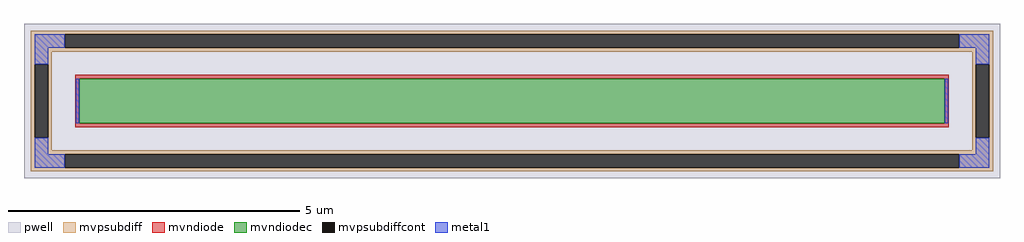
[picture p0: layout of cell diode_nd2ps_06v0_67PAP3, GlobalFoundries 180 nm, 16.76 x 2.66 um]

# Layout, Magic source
magic
tech gf180mcuD
magscale 1 10
<< pwell >>
rect -1676 -266 1676 266
<< mvpsubdiff >>
rect -1652 229 1652 242
rect -1652 183 -1536 229
rect 1536 183 1652 229
rect -1652 170 1652 183
rect -1652 126 -1580 170
rect -1652 -126 -1639 126
rect -1593 -126 -1580 126
rect 1580 126 1652 170
rect -1652 -170 -1580 -126
rect 1580 -126 1593 126
rect 1639 -126 1652 126
rect 1580 -170 1652 -126
rect -1652 -183 1652 -170
rect -1652 -229 -1536 -183
rect 1536 -229 1652 -183
rect -1652 -242 1652 -229
<< mvpsubdiffcont >>
rect -1536 183 1536 229
rect -1639 -126 -1593 126
rect 1593 -126 1639 126
rect -1536 -229 1536 -183
<< mvndiode >>
rect -1500 77 1500 90
rect -1500 -77 -1487 77
rect 1487 -77 1500 77
rect -1500 -90 1500 -77
<< mvndiodec >>
rect -1487 -77 1487 77
<< metal1 >>
rect -1639 183 -1536 229
rect 1536 183 1639 229
rect -1639 126 -1593 183
rect 1593 126 1639 183
rect -1498 -77 -1487 77
rect 1487 -77 1498 77
rect -1639 -183 -1593 -126
rect 1593 -183 1639 -126
rect -1639 -229 -1536 -183
rect 1536 -229 1639 -183
<< properties >>
string FIXED_BBOX -1616 -206 1616 206
string gencell diode_nd2ps_06v0
string library gf180mcu
string parameters w 15 l 0.9 area 13.5 peri 31.8 nx 1 ny 1 dummy 0 lmin 0.45 wmin 0.45 class diode elc 1 erc 1 etc 1 ebc 1 doverlap 0 full_metal 1 compatible {diode_nd2ps_03v3 diode_nd2ps_06v0}
<< end >>
